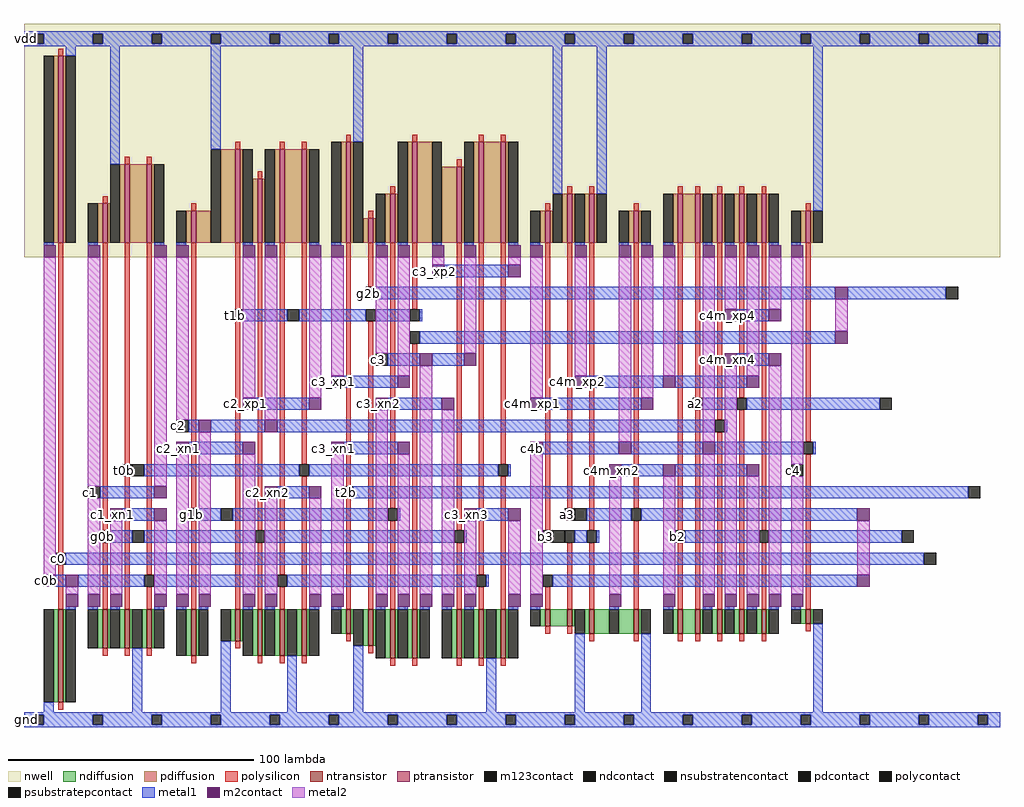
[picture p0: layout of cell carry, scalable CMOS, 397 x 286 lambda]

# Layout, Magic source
magic
tech scmos
<< nwell >>
rect 0 191 397 286
<< ntransistor >>
rect 14 10 16 48
rect 32 32 34 48
rect 41 32 43 48
rect 50 32 52 48
rect 68 29 70 48
rect 86 35 88 48
rect 95 29 97 48
rect 104 29 106 48
rect 113 29 115 48
rect 131 38 133 48
rect 140 33 142 48
rect 149 28 151 48
rect 158 28 160 48
rect 176 28 178 48
rect 185 28 187 48
rect 194 28 196 48
rect 212 41 214 48
rect 221 41 223 48
rect 230 38 232 48
rect 248 38 250 48
rect 266 38 268 48
rect 273 38 275 48
rect 282 38 284 48
rect 291 38 293 48
rect 300 38 302 48
rect 318 42 320 48
<< ptransistor >>
rect 14 197 16 273
rect 32 197 34 213
rect 41 197 43 229
rect 50 197 52 229
rect 68 197 70 210
rect 86 197 88 235
rect 95 197 97 223
rect 104 197 106 235
rect 113 197 115 235
rect 131 197 133 238
rect 140 197 142 207
rect 149 197 151 217
rect 158 197 160 238
rect 176 197 178 228
rect 185 197 187 238
rect 194 197 196 238
rect 212 197 214 210
rect 221 197 223 217
rect 230 197 232 217
rect 248 197 250 210
rect 266 197 268 217
rect 273 197 275 217
rect 282 197 284 217
rect 291 197 293 217
rect 300 197 302 217
rect 318 197 320 210
<< ndiffusion >>
rect 12 10 14 48
rect 16 10 17 48
rect 30 32 32 48
rect 34 32 35 48
rect 39 32 41 48
rect 43 32 44 48
rect 48 32 50 48
rect 52 32 53 48
rect 66 29 68 48
rect 70 29 71 48
rect 84 35 86 48
rect 88 35 89 48
rect 93 29 95 48
rect 97 29 98 48
rect 102 29 104 48
rect 106 29 107 48
rect 111 29 113 48
rect 115 29 116 48
rect 129 38 131 48
rect 133 38 134 48
rect 138 33 140 48
rect 142 33 143 48
rect 147 28 149 48
rect 151 28 152 48
rect 156 28 158 48
rect 160 28 161 48
rect 174 28 176 48
rect 178 28 179 48
rect 183 28 185 48
rect 187 28 188 48
rect 192 28 194 48
rect 196 28 197 48
rect 210 41 212 48
rect 214 41 221 48
rect 223 41 224 48
rect 228 38 230 48
rect 232 38 238 48
rect 242 38 248 48
rect 250 38 251 48
rect 264 38 266 48
rect 268 38 273 48
rect 275 38 276 48
rect 280 38 282 48
rect 284 38 285 48
rect 289 38 291 48
rect 293 38 294 48
rect 298 38 300 48
rect 302 38 303 48
rect 316 42 318 48
rect 320 42 321 48
<< pdiffusion >>
rect 12 197 14 273
rect 16 197 17 273
rect 30 197 32 213
rect 34 197 35 213
rect 39 197 41 229
rect 43 197 50 229
rect 52 197 53 229
rect 66 197 68 210
rect 70 197 76 210
rect 80 197 86 235
rect 88 197 89 235
rect 93 197 95 223
rect 97 197 98 223
rect 102 197 104 235
rect 106 197 113 235
rect 115 197 116 235
rect 129 197 131 238
rect 133 197 134 238
rect 138 197 140 207
rect 142 197 143 207
rect 147 197 149 217
rect 151 197 152 217
rect 156 197 158 238
rect 160 197 166 238
rect 170 197 176 228
rect 178 197 179 228
rect 183 197 185 238
rect 187 197 194 238
rect 196 197 197 238
rect 210 197 212 210
rect 214 197 215 210
rect 219 197 221 217
rect 223 197 224 217
rect 228 197 230 217
rect 232 197 233 217
rect 246 197 248 210
rect 250 197 251 210
rect 264 197 266 217
rect 268 197 273 217
rect 275 197 276 217
rect 280 197 282 217
rect 284 197 285 217
rect 289 197 291 217
rect 293 197 294 217
rect 298 197 300 217
rect 302 197 303 217
rect 316 197 318 210
rect 320 197 321 210
<< ndcontact >>
rect 8 10 12 48
rect 17 10 21 48
rect 26 32 30 48
rect 35 32 39 48
rect 44 32 48 48
rect 53 32 57 48
rect 62 29 66 48
rect 71 29 75 48
rect 80 35 84 48
rect 89 29 93 48
rect 98 29 102 48
rect 107 29 111 48
rect 116 29 120 48
rect 125 38 129 48
rect 134 33 138 48
rect 143 28 147 48
rect 152 28 156 48
rect 161 28 165 48
rect 170 28 174 48
rect 179 28 183 48
rect 188 28 192 48
rect 197 28 201 48
rect 206 41 210 48
rect 224 38 228 48
rect 238 38 242 48
rect 251 38 255 48
rect 260 38 264 48
rect 276 38 280 48
rect 285 38 289 48
rect 294 38 298 48
rect 303 38 307 48
rect 312 42 316 48
rect 321 42 325 48
<< pdcontact >>
rect 8 197 12 273
rect 17 197 21 273
rect 26 197 30 213
rect 35 197 39 229
rect 53 197 57 229
rect 62 197 66 210
rect 76 197 80 235
rect 89 197 93 235
rect 98 197 102 235
rect 116 197 120 235
rect 125 197 129 238
rect 134 197 138 238
rect 143 197 147 217
rect 152 197 156 238
rect 166 197 170 238
rect 179 197 183 238
rect 197 197 201 238
rect 206 197 210 210
rect 215 197 219 217
rect 224 197 228 217
rect 233 197 237 217
rect 242 197 246 210
rect 251 197 255 210
rect 260 197 264 217
rect 276 197 280 217
rect 285 197 289 217
rect 294 197 298 217
rect 303 197 307 217
rect 312 197 316 210
rect 321 197 325 210
<< psubstratepcontact >>
rect 4 1 8 5
rect 28 1 32 5
rect 52 1 56 5
rect 76 1 80 5
rect 100 1 104 5
rect 124 1 128 5
rect 148 1 152 5
rect 172 1 176 5
rect 196 1 200 5
rect 220 1 224 5
rect 244 1 248 5
rect 268 1 272 5
rect 292 1 296 5
rect 316 1 320 5
rect 340 1 344 5
rect 364 1 368 5
rect 388 1 392 5
<< nsubstratencontact >>
rect 4 278 8 282
rect 28 278 32 282
rect 52 278 56 282
rect 76 278 80 282
rect 100 278 104 282
rect 124 278 128 282
rect 148 278 152 282
rect 172 278 176 282
rect 196 278 200 282
rect 220 278 224 282
rect 244 278 248 282
rect 268 278 272 282
rect 292 278 296 282
rect 316 278 320 282
rect 340 278 344 282
rect 364 278 368 282
rect 388 278 392 282
<< polysilicon >>
rect 14 273 16 276
rect 131 238 133 241
rect 158 238 160 241
rect 185 238 187 241
rect 194 238 196 241
rect 86 235 88 238
rect 104 235 106 238
rect 113 235 115 238
rect 41 229 43 232
rect 50 229 52 232
rect 32 213 34 216
rect 68 210 70 213
rect 95 223 97 226
rect 149 217 151 220
rect 140 207 142 210
rect 176 228 178 231
rect 221 217 223 220
rect 230 217 232 220
rect 266 217 268 220
rect 273 217 275 220
rect 282 217 284 220
rect 291 217 293 220
rect 300 217 302 220
rect 212 210 214 213
rect 248 210 250 213
rect 318 210 320 213
rect 14 71 16 197
rect 32 80 34 197
rect 41 107 43 197
rect 14 48 16 66
rect 32 48 34 75
rect 41 48 43 102
rect 50 62 52 197
rect 68 89 70 197
rect 86 170 88 197
rect 50 48 52 57
rect 68 48 70 84
rect 86 48 88 165
rect 95 80 97 197
rect 95 48 97 75
rect 104 62 106 197
rect 113 107 115 197
rect 104 48 106 57
rect 113 48 115 102
rect 131 98 133 197
rect 140 179 142 197
rect 131 48 133 93
rect 140 48 142 165
rect 149 89 151 197
rect 158 170 160 197
rect 149 48 151 84
rect 158 48 160 156
rect 176 80 178 197
rect 176 48 178 75
rect 185 62 187 197
rect 194 107 196 197
rect 185 48 187 57
rect 194 48 196 102
rect 212 80 214 197
rect 221 89 223 197
rect 230 80 232 197
rect 248 89 250 197
rect 212 48 214 57
rect 221 48 223 75
rect 230 48 232 75
rect 248 48 250 84
rect 266 80 268 197
rect 273 134 275 197
rect 266 48 268 75
rect 273 48 275 129
rect 282 125 284 197
rect 291 134 293 197
rect 282 48 284 120
rect 291 48 293 129
rect 300 80 302 197
rect 318 116 320 197
rect 300 48 302 75
rect 318 48 320 111
rect 32 29 34 32
rect 41 29 43 32
rect 50 29 52 32
rect 86 32 88 35
rect 131 35 133 38
rect 140 30 142 33
rect 68 26 70 29
rect 95 26 97 29
rect 104 26 106 29
rect 113 26 115 29
rect 212 38 214 41
rect 221 38 223 41
rect 318 39 320 42
rect 230 35 232 38
rect 248 35 250 38
rect 266 35 268 38
rect 273 35 275 38
rect 282 35 284 38
rect 291 35 293 38
rect 300 35 302 38
rect 149 25 151 28
rect 158 25 160 28
rect 176 25 178 28
rect 185 25 187 28
rect 194 25 196 28
rect 14 7 16 10
<< polycontact >>
rect 40 102 44 107
rect 31 75 35 80
rect 13 66 17 71
rect 85 165 89 170
rect 67 84 71 89
rect 49 57 53 62
rect 94 75 98 80
rect 112 102 116 107
rect 103 57 107 62
rect 139 174 143 179
rect 139 165 143 170
rect 130 93 134 98
rect 157 165 161 170
rect 157 156 161 161
rect 148 84 152 89
rect 175 75 179 80
rect 193 102 197 107
rect 184 57 188 62
rect 220 84 224 89
rect 247 84 251 89
rect 211 75 215 80
rect 220 75 224 80
rect 229 75 233 80
rect 211 57 215 62
rect 272 129 276 134
rect 265 75 269 80
rect 290 129 294 134
rect 281 120 285 125
rect 317 111 321 116
rect 299 75 303 80
<< metal1 >>
rect 0 282 397 283
rect 0 278 4 282
rect 8 278 28 282
rect 32 278 52 282
rect 56 278 76 282
rect 80 278 100 282
rect 104 278 124 282
rect 128 278 148 282
rect 152 278 172 282
rect 176 278 196 282
rect 200 278 220 282
rect 224 278 244 282
rect 248 278 268 282
rect 272 278 292 282
rect 296 278 316 282
rect 320 278 340 282
rect 344 278 364 282
rect 368 278 388 282
rect 392 278 397 282
rect 0 277 397 278
rect 17 273 21 277
rect 35 229 39 277
rect 76 235 80 277
rect 134 238 138 277
rect 8 196 12 197
rect 26 196 30 197
rect 53 196 57 197
rect 62 196 66 197
rect 89 196 93 197
rect 98 196 102 197
rect 116 196 120 197
rect 125 196 129 197
rect 143 196 147 197
rect 152 196 156 197
rect 166 196 170 197
rect 179 196 183 197
rect 215 217 219 277
rect 233 217 237 277
rect 197 196 201 197
rect 206 196 210 197
rect 224 196 228 197
rect 242 196 246 197
rect 251 196 255 197
rect 260 196 264 197
rect 276 196 280 197
rect 285 196 289 197
rect 294 196 298 197
rect 321 210 325 277
rect 303 196 307 197
rect 312 196 316 197
rect 171 183 197 188
rect 143 174 330 179
rect 335 174 375 179
rect 89 165 107 170
rect 112 165 139 170
rect 143 165 157 170
rect 161 165 162 170
rect 290 165 303 170
rect 161 156 330 161
rect 148 147 161 152
rect 166 147 179 152
rect 290 147 303 152
rect 130 138 152 143
rect 229 138 260 143
rect 265 138 294 143
rect 94 129 116 134
rect 148 129 170 134
rect 211 129 251 134
rect 276 129 290 134
rect 294 129 348 134
rect 67 120 71 125
rect 76 120 98 125
rect 103 120 281 125
rect 285 120 286 125
rect 67 111 89 116
rect 130 111 152 116
rect 211 111 242 116
rect 247 111 276 116
rect 281 111 317 116
rect 321 111 322 116
rect 49 102 112 107
rect 116 102 193 107
rect 197 102 198 107
rect 243 102 260 107
rect 265 102 294 107
rect 31 93 53 98
rect 103 93 116 98
rect 134 93 384 98
rect 40 84 53 89
rect 71 84 80 89
rect 85 84 148 89
rect 152 84 153 89
rect 184 84 197 89
rect 229 84 247 89
rect 251 84 339 89
rect 35 75 44 80
rect 49 75 94 80
rect 98 75 175 80
rect 179 75 180 80
rect 224 75 229 80
rect 233 75 234 80
rect 269 75 299 80
rect 303 75 357 80
rect 17 66 366 71
rect 13 57 17 62
rect 22 57 49 62
rect 53 57 103 62
rect 107 57 184 62
rect 188 57 189 62
rect 215 57 339 62
rect 17 48 21 49
rect 26 48 30 49
rect 35 48 39 49
rect 53 48 57 49
rect 62 48 66 49
rect 8 6 12 10
rect 44 6 48 32
rect 71 48 75 49
rect 89 48 93 49
rect 80 6 84 35
rect 98 48 102 49
rect 116 48 120 49
rect 125 48 129 49
rect 143 48 147 49
rect 107 6 111 29
rect 134 6 138 33
rect 152 48 156 49
rect 161 48 165 49
rect 170 48 174 49
rect 179 48 183 49
rect 197 48 201 49
rect 206 48 210 49
rect 238 48 242 49
rect 260 48 264 49
rect 276 48 280 49
rect 285 48 289 49
rect 294 48 298 49
rect 303 48 307 49
rect 312 48 316 49
rect 188 6 192 28
rect 224 6 228 38
rect 251 6 255 38
rect 321 6 325 42
rect 0 5 397 6
rect 0 1 4 5
rect 8 1 28 5
rect 32 1 52 5
rect 56 1 76 5
rect 80 1 100 5
rect 104 1 124 5
rect 128 1 148 5
rect 152 1 172 5
rect 176 1 196 5
rect 200 1 220 5
rect 224 1 244 5
rect 248 1 268 5
rect 272 1 292 5
rect 296 1 316 5
rect 320 1 340 5
rect 344 1 364 5
rect 368 1 388 5
rect 392 1 397 5
rect 0 0 397 1
<< m2contact >>
rect 8 191 13 196
rect 26 191 31 196
rect 53 191 58 196
rect 62 191 67 196
rect 89 191 94 196
rect 98 191 103 196
rect 116 191 121 196
rect 125 191 130 196
rect 143 191 148 196
rect 152 191 157 196
rect 166 191 171 196
rect 179 191 184 196
rect 197 191 202 196
rect 206 191 211 196
rect 224 191 229 196
rect 242 191 247 196
rect 251 191 256 196
rect 260 191 265 196
rect 276 191 281 196
rect 285 191 290 196
rect 294 191 299 196
rect 303 191 308 196
rect 312 191 317 196
rect 166 183 171 188
rect 197 183 202 188
rect 330 174 335 179
rect 285 165 290 170
rect 303 165 308 170
rect 330 156 335 161
rect 161 147 166 152
rect 179 147 184 152
rect 285 147 290 152
rect 303 147 308 152
rect 125 138 130 143
rect 152 138 157 143
rect 224 138 229 143
rect 260 138 265 143
rect 294 138 299 143
rect 89 129 94 134
rect 116 129 121 134
rect 143 129 148 134
rect 170 129 175 134
rect 206 129 211 134
rect 251 129 256 134
rect 71 120 76 125
rect 98 120 103 125
rect 62 111 67 116
rect 89 111 94 116
rect 125 111 130 116
rect 152 111 157 116
rect 206 111 211 116
rect 242 111 247 116
rect 276 111 281 116
rect 238 102 243 107
rect 260 102 265 107
rect 294 102 299 107
rect 53 93 58 98
rect 98 93 103 98
rect 116 93 121 98
rect 35 84 40 89
rect 53 84 58 89
rect 179 84 184 89
rect 197 84 202 89
rect 339 84 344 89
rect 8 57 13 62
rect 17 57 22 62
rect 339 57 344 62
rect 17 49 22 54
rect 26 49 31 54
rect 35 49 40 54
rect 53 49 58 54
rect 62 49 67 54
rect 71 49 76 54
rect 89 49 94 54
rect 98 49 103 54
rect 116 49 121 54
rect 125 49 130 54
rect 143 49 148 54
rect 152 49 157 54
rect 161 49 166 54
rect 170 49 175 54
rect 179 49 184 54
rect 197 49 202 54
rect 206 49 211 54
rect 238 49 243 54
rect 260 49 265 54
rect 276 49 281 54
rect 285 49 290 54
rect 294 49 299 54
rect 303 49 308 54
rect 312 49 317 54
<< metal2 >>
rect 8 62 13 191
rect 26 98 31 191
rect 53 98 58 191
rect 62 125 67 191
rect 89 134 94 191
rect 98 125 103 191
rect 116 134 121 191
rect 125 143 130 191
rect 143 152 148 191
rect 152 143 157 191
rect 166 188 171 191
rect 179 152 184 191
rect 197 188 202 191
rect 17 54 22 57
rect 26 54 31 93
rect 35 54 40 84
rect 53 54 58 84
rect 62 54 67 111
rect 71 54 76 120
rect 89 54 94 111
rect 98 54 103 93
rect 116 54 121 93
rect 125 54 130 111
rect 143 54 148 129
rect 152 54 157 111
rect 161 54 166 147
rect 206 134 211 191
rect 224 143 229 191
rect 170 54 175 129
rect 242 116 247 191
rect 251 134 256 191
rect 260 143 265 191
rect 276 116 281 191
rect 285 170 290 191
rect 179 54 184 84
rect 197 54 202 84
rect 206 54 211 111
rect 238 54 243 102
rect 260 54 265 102
rect 276 54 281 111
rect 285 54 290 147
rect 294 143 299 191
rect 303 170 308 191
rect 294 54 299 102
rect 303 54 308 147
rect 312 107 317 191
rect 330 161 335 174
rect 312 54 317 102
rect 339 62 344 84
<< m123contact >>
rect 44 102 49 107
rect 26 93 31 98
rect 107 165 112 170
rect 143 147 148 152
rect 62 120 67 125
rect 44 75 49 80
rect 80 84 85 89
rect 224 84 229 89
rect 215 75 220 80
rect 375 174 380 179
rect 348 129 353 134
rect 312 102 317 107
rect 384 93 389 98
rect 357 75 362 80
rect 366 66 371 71
<< labels >>
rlabel metal1 272 129 274 134 0 a2
port 1 nsew
rlabel metal1 220 84 222 89 0 a3
port 2 nsew
rlabel metal1 265 75 267 80 0 b2
port 3 nsew
rlabel metal1 211 75 213 80 0 b3
port 4 nsew
rlabel metal1 13 66 15 71 0 c0
port 5 nsew
rlabel metal1 26 93 28 98 0 c1
port 6 nsew
rlabel metal1 62 120 64 125 0 c2
port 7 nsew
rlabel metal1 143 147 145 152 0 c3
port 8 nsew
rlabel metal1 312 102 314 107 0 c4
port 9 nsew
rlabel metal1 31 75 33 80 0 g0b
port 10 nsew
rlabel metal1 67 84 69 89 0 g1b
port 11 nsew
rlabel metal1 139 174 141 179 0 g2b
port 12 nsew
rlabel metal1 40 102 42 107 0 t0b
port 13 nsew
rlabel metal1 85 165 87 170 0 t1b
port 14 nsew
rlabel metal1 130 93 132 98 0 t2b
port 15 nsew
rlabel m2contact 8 57 10 62 0 c0b
rlabel m2contact 35 84 37 89 0 c1_xn1
rlabel m2contact 62 111 64 116 0 c2_xn1
rlabel m2contact 98 93 100 98 0 c2_xn2
rlabel m2contact 89 129 91 134 0 c2_xp1
rlabel m2contact 125 111 127 116 0 c3_xn1
rlabel m2contact 143 129 145 134 0 c3_xn2
rlabel m2contact 179 84 181 89 0 c3_xn3
rlabel m2contact 125 138 127 143 0 c3_xp1
rlabel m2contact 166 183 168 188 0 c3_xp2
rlabel m2contact 206 111 208 116 0 c4b
rlabel m2contact 238 102 240 107 0 c4m_xn2
rlabel m2contact 285 147 287 152 0 c4m_xn4
rlabel m2contact 206 129 208 134 0 c4m_xp1
rlabel m2contact 224 138 226 143 0 c4m_xp2
rlabel m2contact 285 165 287 170 0 c4m_xp4
rlabel metal1 0 277 2 283 0 vdd
port 16 nsew
rlabel metal1 0 0 2 6 0 gnd
port 17 nsew
<< end >>
